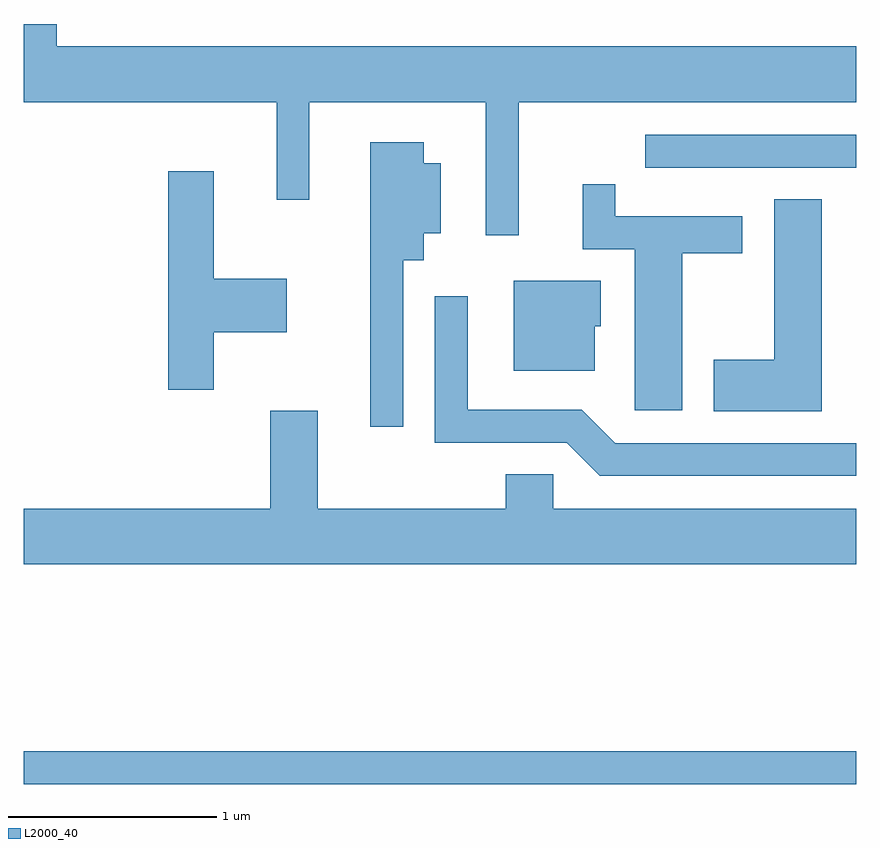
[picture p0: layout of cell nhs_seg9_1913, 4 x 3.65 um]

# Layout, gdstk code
import gdstk
lib = gdstk.Library(unit=1e-6, precision=1e-09)
def R(c, l, rs):  # rectangles x0, y0, x1, y1
    for r in rs: c.add(gdstk.rectangle(r[:2], r[2:], *l))
def P(c, l, *ps):  # polygons
    for p in ps: c.add(gdstk.Polygon(p, *l))
L2000_40 = (2000, 40)

nhs_seg9_1913 = lib.new_cell('nhs_seg9_1913')
R(nhs_seg9_1913, L2000_40, [(241.611,1970.781,245.611,1970.939), (244.598,1973.741,245.611,1973.899)])
P(nhs_seg9_1913, L2000_40, [(243.989,1974.056),(245.611,1974.056),(245.611,1974.324),(241.769,1974.324),(241.769,1974.432),(241.611,1974.432),(241.611,1974.056),(242.826,1974.056),(242.826,1973.588),(242.984,1973.588),(242.984,1974.056),(243.831,1974.056),(243.831,1973.418),(243.989,1973.418)],
  [(243.434,1973.296),(243.534,1973.296),(243.534,1973.426),(243.614,1973.426),(243.614,1973.764),(243.534,1973.764),(243.534,1973.864),(243.276,1973.864),(243.276,1972.498),(243.434,1972.498)],
  [(242.524,1972.951),(242.874,1972.951),(242.874,1973.209),(242.524,1973.209),(242.524,1973.724),(242.306,1973.724),(242.306,1972.676),(242.524,1972.676)],
  [(244.774,1973.331),(245.064,1973.331),(245.064,1973.509),(244.454,1973.509),(244.454,1973.663),(244.296,1973.663),(244.296,1973.351),(244.546,1973.351),(244.546,1972.576),(244.774,1972.576)],
  [(245.444,1973.589),(245.216,1973.589),(245.216,1972.819),(244.926,1972.819),(244.926,1972.571),(245.444,1972.571)],
  [(244.354,1972.981),(244.384,1972.981),(244.384,1973.199),(243.966,1973.199),(243.966,1972.766),(244.354,1972.766)],
  [(245.611,1972.419),(244.452,1972.419),(244.292,1972.579),(243.744,1972.579),(243.744,1973.123),(243.586,1973.123),(243.586,1972.421),(244.219,1972.421),(244.379,1972.261),(245.611,1972.261)],
  [(245.611,1972.104),(244.154,1972.104),(244.154,1972.269),(243.926,1972.269),(243.926,1972.104),(243.024,1972.104),(243.024,1972.574),(242.796,1972.574),(242.796,1972.104),(241.611,1972.104),(241.611,1971.836),(245.611,1971.836)])

lib.write_gds('nhs_seg9_1913.gds')
